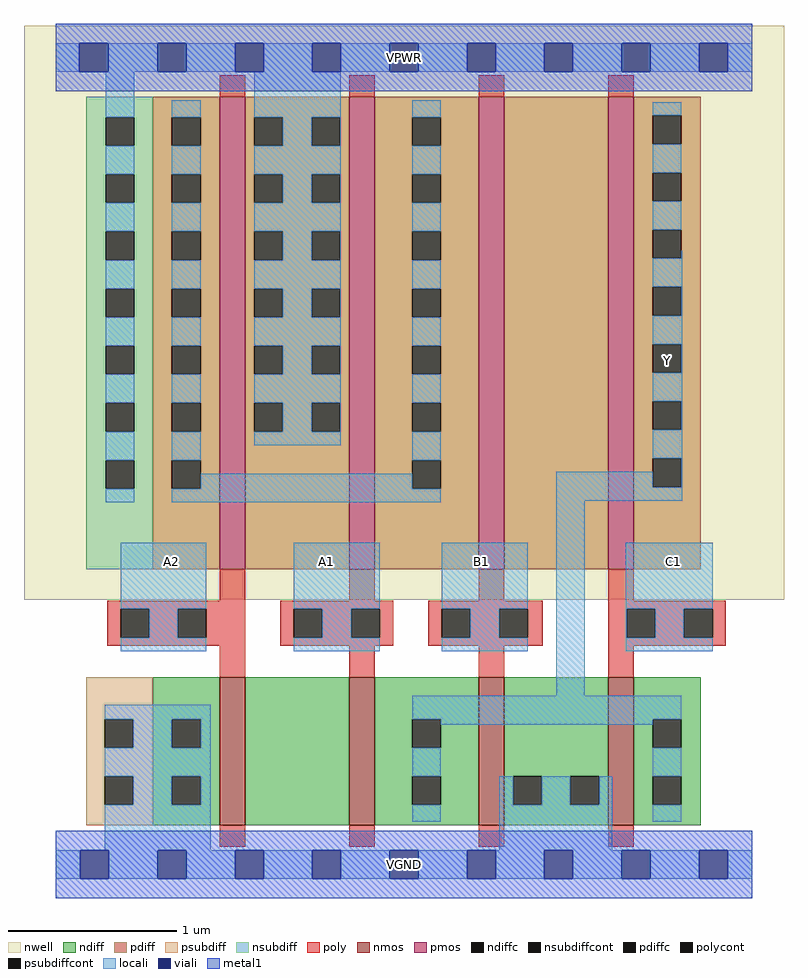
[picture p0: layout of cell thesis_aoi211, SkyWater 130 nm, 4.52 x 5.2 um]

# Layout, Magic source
magic
tech sky130A
magscale 1 2
<< nwell >>
rect -38 315 866 998
<< nmos >>
rect 195 47 225 223
rect 349 47 379 223
rect 503 47 533 223
rect 657 47 687 223
<< pmos >>
rect 195 351 225 913
rect 349 351 379 913
rect 503 351 533 913
rect 657 351 687 913
<< ndiff >>
rect 115 173 195 223
rect 115 139 138 173
rect 172 139 195 173
rect 115 105 195 139
rect 115 71 138 105
rect 172 71 195 105
rect 115 47 195 71
rect 225 47 349 223
rect 379 173 503 223
rect 379 139 424 173
rect 458 139 503 173
rect 379 105 503 139
rect 379 71 424 105
rect 458 71 503 105
rect 379 47 503 71
rect 533 105 657 223
rect 533 71 544 105
rect 578 71 612 105
rect 646 71 657 105
rect 533 47 657 71
rect 687 173 767 223
rect 687 139 710 173
rect 744 139 767 173
rect 687 105 767 139
rect 687 71 710 105
rect 744 71 767 105
rect 687 47 767 71
<< pdiff >>
rect 115 889 195 913
rect 115 855 138 889
rect 172 855 195 889
rect 115 821 195 855
rect 115 787 138 821
rect 172 787 195 821
rect 115 753 195 787
rect 115 719 138 753
rect 172 719 195 753
rect 115 685 195 719
rect 115 651 138 685
rect 172 651 195 685
rect 115 617 195 651
rect 115 583 138 617
rect 172 583 195 617
rect 115 549 195 583
rect 115 515 138 549
rect 172 515 195 549
rect 115 481 195 515
rect 115 447 138 481
rect 172 447 195 481
rect 115 351 195 447
rect 225 889 349 913
rect 225 855 236 889
rect 270 855 304 889
rect 338 855 349 889
rect 225 821 349 855
rect 225 787 236 821
rect 270 787 304 821
rect 338 787 349 821
rect 225 753 349 787
rect 225 719 236 753
rect 270 719 304 753
rect 338 719 349 753
rect 225 685 349 719
rect 225 651 236 685
rect 270 651 304 685
rect 338 651 349 685
rect 225 617 349 651
rect 225 583 236 617
rect 270 583 304 617
rect 338 583 349 617
rect 225 549 349 583
rect 225 515 236 549
rect 270 515 304 549
rect 338 515 349 549
rect 225 351 349 515
rect 379 889 503 913
rect 379 855 424 889
rect 458 855 503 889
rect 379 821 503 855
rect 379 787 424 821
rect 458 787 503 821
rect 379 753 503 787
rect 379 719 424 753
rect 458 719 503 753
rect 379 685 503 719
rect 379 651 424 685
rect 458 651 503 685
rect 379 617 503 651
rect 379 583 424 617
rect 458 583 503 617
rect 379 549 503 583
rect 379 515 424 549
rect 458 515 503 549
rect 379 481 503 515
rect 379 447 424 481
rect 458 447 503 481
rect 379 351 503 447
rect 533 351 657 913
rect 687 891 767 913
rect 687 857 710 891
rect 744 857 767 891
rect 687 823 767 857
rect 687 789 710 823
rect 744 789 767 823
rect 687 755 767 789
rect 687 721 710 755
rect 744 721 767 755
rect 687 687 767 721
rect 687 653 710 687
rect 744 653 767 687
rect 687 619 767 653
rect 687 585 710 619
rect 744 585 767 619
rect 687 551 767 585
rect 687 517 710 551
rect 744 517 767 551
rect 687 483 767 517
rect 687 449 710 483
rect 744 449 767 483
rect 687 351 767 449
<< ndiffc >>
rect 138 139 172 173
rect 138 71 172 105
rect 424 139 458 173
rect 424 71 458 105
rect 544 71 578 105
rect 612 71 646 105
rect 710 139 744 173
rect 710 71 744 105
<< pdiffc >>
rect 138 855 172 889
rect 138 787 172 821
rect 138 719 172 753
rect 138 651 172 685
rect 138 583 172 617
rect 138 515 172 549
rect 138 447 172 481
rect 236 855 270 889
rect 304 855 338 889
rect 236 787 270 821
rect 304 787 338 821
rect 236 719 270 753
rect 304 719 338 753
rect 236 651 270 685
rect 304 651 338 685
rect 236 583 270 617
rect 304 583 338 617
rect 236 515 270 549
rect 304 515 338 549
rect 424 855 458 889
rect 424 787 458 821
rect 424 719 458 753
rect 424 651 458 685
rect 424 583 458 617
rect 424 515 458 549
rect 424 447 458 481
rect 710 857 744 891
rect 710 789 744 823
rect 710 721 744 755
rect 710 653 744 687
rect 710 585 744 619
rect 710 517 744 551
rect 710 449 744 483
<< psubdiff >>
rect 36 173 115 223
rect 36 139 58 173
rect 92 139 115 173
rect 36 105 115 139
rect 36 71 58 105
rect 92 71 115 105
rect 36 47 115 71
<< nsubdiff >>
rect 36 889 115 913
rect 36 855 59 889
rect 93 855 115 889
rect 36 821 115 855
rect 36 787 59 821
rect 93 787 115 821
rect 36 753 115 787
rect 36 719 59 753
rect 93 719 115 753
rect 36 685 115 719
rect 36 651 59 685
rect 93 651 115 685
rect 36 617 115 651
rect 36 583 59 617
rect 93 583 115 617
rect 36 549 115 583
rect 36 515 59 549
rect 93 515 115 549
rect 36 481 115 515
rect 36 447 59 481
rect 93 447 115 481
rect 36 351 115 447
<< psubdiffcont >>
rect 58 139 92 173
rect 58 71 92 105
<< nsubdiffcont >>
rect 59 855 93 889
rect 59 787 93 821
rect 59 719 93 753
rect 59 651 93 685
rect 59 583 93 617
rect 59 515 93 549
rect 59 447 93 481
<< poly >>
rect 195 913 225 939
rect 349 913 379 939
rect 503 913 533 939
rect 657 913 687 939
rect 195 314 225 351
rect 349 314 379 351
rect 503 314 533 351
rect 657 314 687 351
rect 61 304 225 314
rect 61 270 77 304
rect 111 270 145 304
rect 179 270 225 304
rect 61 260 225 270
rect 267 304 401 314
rect 267 270 283 304
rect 317 270 351 304
rect 385 270 401 304
rect 267 260 401 270
rect 443 304 579 314
rect 443 270 459 304
rect 493 270 527 304
rect 561 270 579 304
rect 443 260 579 270
rect 657 304 797 314
rect 657 270 679 304
rect 713 270 747 304
rect 781 270 797 304
rect 657 260 797 270
rect 195 223 225 260
rect 349 223 379 260
rect 503 223 533 260
rect 657 223 687 260
rect 195 21 225 47
rect 349 21 379 47
rect 503 21 533 47
rect 657 21 687 47
<< polycont >>
rect 77 270 111 304
rect 145 270 179 304
rect 283 270 317 304
rect 351 270 385 304
rect 459 270 493 304
rect 527 270 561 304
rect 679 270 713 304
rect 747 270 781 304
<< locali >>
rect 0 943 28 977
rect 62 943 121 977
rect 155 943 213 977
rect 247 943 305 977
rect 339 943 397 977
rect 431 943 489 977
rect 523 943 581 977
rect 615 943 673 977
rect 707 943 765 977
rect 799 943 828 977
rect 59 889 93 943
rect 59 821 93 855
rect 59 753 93 787
rect 59 685 93 719
rect 59 617 93 651
rect 59 549 93 583
rect 59 481 93 515
rect 59 431 93 447
rect 138 889 172 909
rect 138 821 172 855
rect 138 753 172 787
rect 138 685 172 719
rect 138 617 172 651
rect 138 549 172 583
rect 138 481 172 515
rect 236 889 339 943
rect 270 855 304 889
rect 338 855 339 889
rect 236 821 339 855
rect 270 787 304 821
rect 338 787 339 821
rect 236 753 339 787
rect 270 719 304 753
rect 338 719 339 753
rect 236 685 339 719
rect 270 651 304 685
rect 338 651 339 685
rect 236 617 339 651
rect 270 583 304 617
rect 338 583 339 617
rect 236 549 339 583
rect 270 515 304 549
rect 338 515 339 549
rect 236 499 339 515
rect 424 889 458 909
rect 424 821 458 855
rect 424 753 458 787
rect 424 685 458 719
rect 424 617 458 651
rect 424 549 458 583
rect 424 481 458 515
rect 172 447 424 465
rect 710 891 744 907
rect 710 823 744 857
rect 710 755 744 789
rect 744 721 745 730
rect 710 687 745 721
rect 744 653 745 687
rect 710 619 745 653
rect 744 585 745 619
rect 710 551 745 585
rect 744 517 745 551
rect 710 483 745 517
rect 138 431 458 447
rect 595 449 710 467
rect 744 449 745 483
rect 595 433 745 449
rect 77 304 179 383
rect 111 270 145 304
rect 77 254 179 270
rect 283 304 385 383
rect 317 270 351 304
rect 283 254 385 270
rect 459 304 561 383
rect 493 270 527 304
rect 459 254 561 270
rect 595 201 629 433
rect 678 304 781 383
rect 678 270 679 304
rect 713 270 747 304
rect 678 254 781 270
rect 58 173 184 190
rect 92 139 138 173
rect 172 139 184 173
rect 58 105 184 139
rect 92 71 138 105
rect 172 71 184 105
rect 58 17 184 71
rect 424 173 744 201
rect 458 166 710 173
rect 424 105 458 139
rect 710 105 744 139
rect 424 51 458 71
rect 527 71 544 105
rect 578 71 612 105
rect 646 71 662 105
rect 527 17 662 71
rect 710 51 744 71
rect 0 -17 29 17
rect 63 -17 121 17
rect 155 -17 213 17
rect 247 -17 305 17
rect 339 -17 397 17
rect 431 -17 489 17
rect 523 -17 581 17
rect 615 -17 673 17
rect 707 -17 765 17
rect 799 -17 828 17
<< viali >>
rect 28 943 62 977
rect 121 943 155 977
rect 213 943 247 977
rect 305 943 339 977
rect 397 943 431 977
rect 489 943 523 977
rect 581 943 615 977
rect 673 943 707 977
rect 765 943 799 977
rect 29 -17 63 17
rect 121 -17 155 17
rect 213 -17 247 17
rect 305 -17 339 17
rect 397 -17 431 17
rect 489 -17 523 17
rect 581 -17 615 17
rect 673 -17 707 17
rect 765 -17 799 17
<< metal1 >>
rect 0 977 828 1000
rect 0 943 28 977
rect 62 943 121 977
rect 155 943 213 977
rect 247 943 305 977
rect 339 943 397 977
rect 431 943 489 977
rect 523 943 581 977
rect 615 943 673 977
rect 707 943 765 977
rect 799 943 828 977
rect 0 920 828 943
rect 0 17 828 40
rect 0 -17 29 17
rect 63 -17 121 17
rect 155 -17 213 17
rect 247 -17 305 17
rect 339 -17 397 17
rect 431 -17 489 17
rect 523 -17 581 17
rect 615 -17 673 17
rect 707 -17 765 17
rect 799 -17 828 17
rect 0 -40 828 -17
<< labels >>
flabel locali s 121 343 155 377 0 FreeSans 240 0 0 0 A2
port 0 nsew signal input
flabel locali s 305 343 339 377 0 FreeSans 240 0 0 0 A1
port 1 nsew signal input
flabel locali s 489 343 523 377 0 FreeSans 240 0 0 0 B1
port 2 nsew signal input
flabel locali s 717 343 751 377 0 FreeSans 240 0 0 0 C1
port 3 nsew signal input
flabel metal1 s 397 943 431 977 0 FreeSans 240 0 0 0 VPWR
port 5 nsew power bidirectional
flabel metal1 s 397 -17 431 17 0 FreeSans 240 0 0 0 VGND
port 6 nsew ground bidirectional
flabel locali s 710 583 744 617 0 FreeSans 240 0 0 0 Y
port 4 nsew signal output
<< properties >>
string FIXED_BBOX 0 0 828 960
string LEFclass CORE
string LEForigin 0 0
<< end >>
